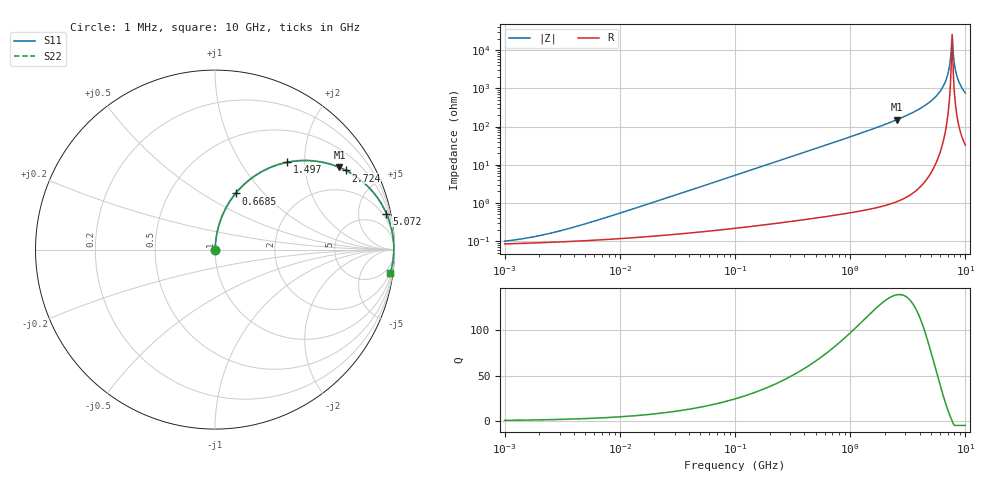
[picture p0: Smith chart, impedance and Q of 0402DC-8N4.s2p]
# MHz  S  MA  R  50
!Freq  MagS11  AngS11  MagS21  AngS21  MagS12  AngS12  MagS22  AngS22
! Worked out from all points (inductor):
!   801 points, 1 MHz to 10 GHz, reference 50 ohm
!   read as one part in series: L = 8.4 nH near 6.096 MHz
!   highest Q = 139 at 2.542 GHz (marker M1), where L = 9.44 nH
!   self-resonance near 7.589 GHz
!   S11 on the Smith chart (normalised r, x): 1 MHz: 1.00, +0.00; 668.5 MHz: 1.01, +0.71; 1.497 GHz: 1.01, +1.64; 2.724 GHz: 1.02, +3.29; 5.072 GHz: 1.13, +9.52; 10 GHz: 2, -15
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1  0.0009971 31.9  0.9992 -0.0  0.9992 -0.0  0.0009971 31.9
2.06545  0.00142 50.0  0.9991 -0.1  0.9991 -0.1  0.00142 50.0
4.67769  0.002668 67.5  0.999 -0.1  0.999 -0.1  0.002668 67.5
21.6303  0.01148 82.4  0.9986 -0.7  0.9986 -0.7  0.01148 82.4
100.0216  0.05266 84.6  0.9965 -3.0  0.9965 -3.0  0.05266 84.6
467.8699  0.2397 75.2  0.9671 -13.9  0.9671 -13.9  0.2397 75.2
668.5477  0.3337 69.8  0.9384 -19.5  0.9384 -19.5  0.3337 69.8
1496.748  0.6321 50.3  0.7696 -39.2  0.7696 -39.2  0.6321 50.3
2163.497  0.7758 38.7  0.6253 -50.9  0.6253 -50.9  0.7758 38.7
2541.906  0.8305 33.4  0.551 -56.2  0.551 -56.2  0.8305 33.4
2723.711  0.8518 31.2  0.5178 -58.4  0.5178 -58.4  0.8518 31.2
5071.934  0.976 11.8  0.2051 -77.4  0.2051 -77.4  0.976 11.8
5959.048  0.9892 7.2  0.1246 -81.5  0.1246 -81.5  0.9892 7.2
6609.658  0.9941 4.2  0.07327 -83.3  0.07327 -83.3  0.9941 4.2
7082.399  0.9958 2.2  0.03925 -82.7  0.03925 -82.7  0.9958 2.2
7416.199  0.9962 0.9  0.01681 -76.4  0.01681 -76.4  0.9962 0.9
7676.832  0.9962 -0.0  0.00388 8.9  0.00388 8.9  0.9962 -0.0
7946.626  0.9958 -1.0  0.01805 76.2  0.01805 76.2  0.9958 -1.0
8225.901  0.9952 -2.0  0.03485 81.1  0.03485 81.1  0.9952 -2.0
8613.594  0.9939 -3.3  0.05744 82.2  0.05744 82.2  0.9939 -3.3
9229.662  0.9908 -5.2  0.09144 81.6  0.09144 81.6  0.9908 -5.2
10000  0.9857 -7.5  0.131 80.0  0.131 80.0  0.9857 -7.5
